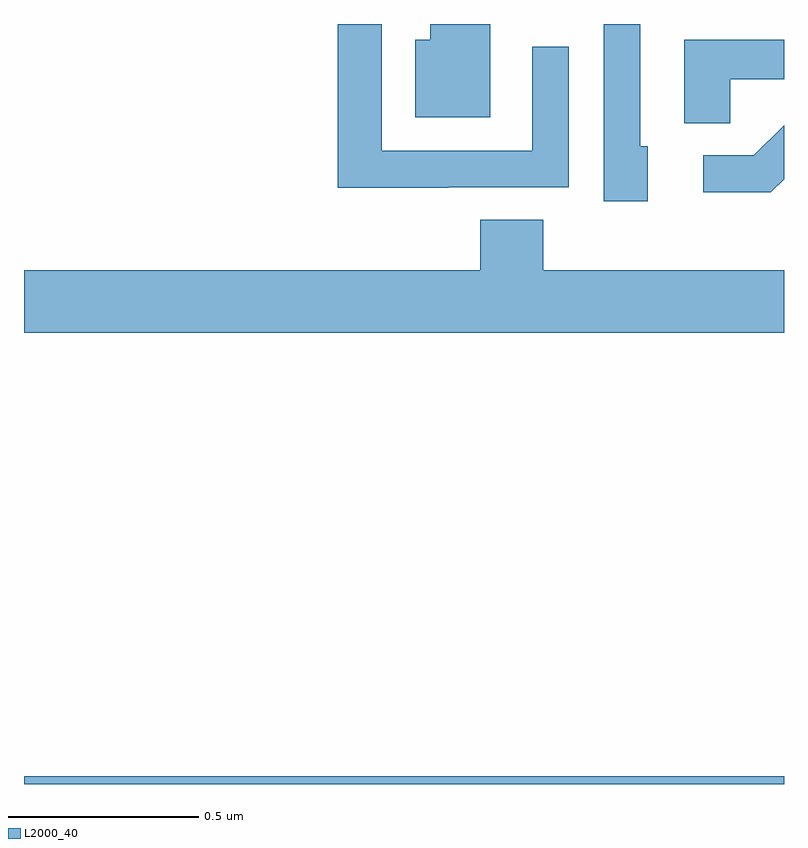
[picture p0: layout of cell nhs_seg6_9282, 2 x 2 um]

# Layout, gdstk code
import gdstk
lib = gdstk.Library(unit=1e-6, precision=1e-09)
def R(c, l, rs):  # rectangles x0, y0, x1, y1
    for r in rs: c.add(gdstk.rectangle(r[:2], r[2:], *l))
def P(c, l, *ps):  # polygons
    for p in ps: c.add(gdstk.Polygon(p, *l))
L2000_40 = (2000, 40)

nhs_seg6_9282 = lib.new_cell('nhs_seg6_9282')
R(nhs_seg6_9282, L2000_40, [(232,927.5,234,927.52)])
P(nhs_seg6_9282, L2000_40, [(233.641,929.178),(233.622,929.178),(233.622,929.5),(233.526,929.5),(233.526,929.034),(233.641,929.034)],
  [(233.227,929.5),(233.069,929.5),(233.069,929.458),(233.03,929.458),(233.03,929.255),(233.227,929.255)],
  [(233.117,929.07),(233.433,929.07),(233.433,929.44),(233.337,929.44),(233.337,929.166),(232.941,929.166),(232.941,929.5),(232.825,929.5),(232.825,929.069),(233.117,929.069)],
  [(233.859,929.354),(234,929.354),(234,929.458),(233.738,929.458),(233.738,929.239),(233.859,929.239)],
  [(234,929.092),(234,929.233),(233.921,929.154),(233.787,929.154),(233.787,929.057),(233.965,929.057)],
  [(234,928.852),(233.366,928.852),(233.366,928.985),(233.201,928.985),(233.201,928.852),(232,928.852),(232,928.688),(234,928.688)])

lib.write_gds('nhs_seg6_9282.gds')
